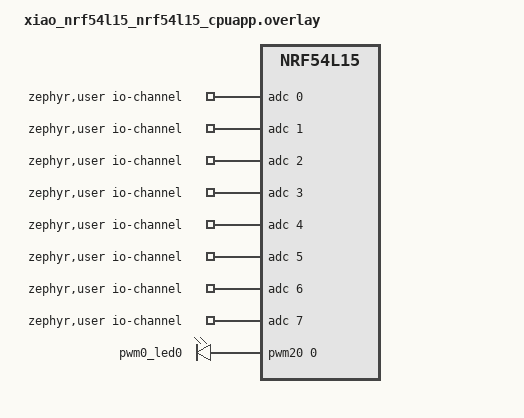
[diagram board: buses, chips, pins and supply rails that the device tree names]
/ {
    aliases {
        pwm-led = &pwm0_led0;
    };

    zephyr,user {
		io-channels = <&adc 0>, <&adc 1>, <&adc 2>, <&adc 3>,
			<&adc 4>, <&adc 5>, <&adc 6>, <&adc 7>;
	};

    pwm_leds {
        compatible = "pwm-leds";
        pwm0_led0: my_pwm_led {
            pwms = <&pwm20 0 PWM_MSEC(20) PWM_POLARITY_NORMAL>;
            status = "okay";
        };
    };
};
